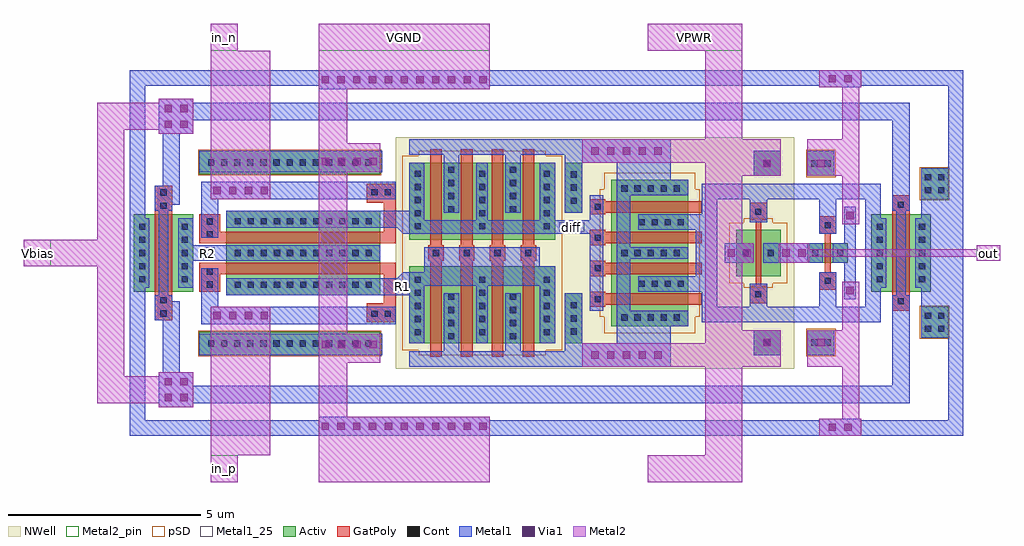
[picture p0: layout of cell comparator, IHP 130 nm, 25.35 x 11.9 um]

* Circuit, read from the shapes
.subckt comparator R1 R2 VGND VPWR Vbias diff in_n in_p out
XM1 R2 Vbias VGND VGND sg13_lv_nmos w=2u l=0.45u
XM2 R2 in_p R1 VGND sg13_lv_nmos w=4u l=0.3u
XM3 diff in_n R2 VGND sg13_lv_nmos w=4u l=0.3u
XM4 VGND n1 out VGND sg13_lv_nmos w=0.5u l=0.15u
XM5 VGND Vbias n1 VGND sg13_lv_nmos w=2u l=0.45u
XM6 VPWR R1 R1 VPWR sg13_lv_pmos w=2u l=0.3u m=4
XM7 VPWR R1 diff VPWR sg13_lv_pmos w=2u l=0.3u m=4
XM8 n1 diff VPWR VPWR sg13_lv_pmos w=2u l=0.3u m=4
XM9 out n1 VPWR VPWR sg13_lv_pmos w=1.2u l=0.15u
.ends

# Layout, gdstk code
import gdstk
lib = gdstk.Library(unit=1e-6, precision=1e-09)
def R(c, l, rs):  # rectangles x0, y0, x1, y1
    for r in rs: c.add(gdstk.rectangle(r[:2], r[2:], *l))
def A(c, l, x, y, w, h, nx, ny, dx, dy):  # array of equal rectangles
    R(c, l, [(x+i*dx, y+j*dy, x+i*dx+w, y+j*dy+h) for i in range(nx) for j in range(ny)])
def P(c, l, *ps):  # polygons
    for p in ps: c.add(gdstk.Polygon(p, *l))
Activ = (1, 0)
GatPoly = (5, 0)
Cont = (6, 0)
Metal1 = (8, 0)
Metal1_25 = (8, 25)
Metal2 = (10, 0)
Metal2_pin = (10, 2)
pSD = (14, 0)
Via1 = (19, 0)
NWell = (31, 0)

comparator = lib.new_cell('comparator')
R(comparator, Activ, [(4.55,3.3,9.25,3.9), (18.95,3.3,19.65,3.95), (20.35,3.3,21.05,3.95), (10,3.6,13.8,5.6), (14.05,3.6,14.5,4.9), (23.3,3.75,24,4.55), (15.25,4.05,17.25,7.85), (5.25,4.85,9.25,7.05), (2.85,4.95,4.4,6.95), (22,4.95,23.55,6.95), (18.5,5.35,19.65,6.55), (20.35,5.7,21.4,6.2), (10,6.3,13.8,8.3), (14.05,7,14.5,8.3), (23.3,7.35,24,8.15), (18.95,7.95,19.65,8.6), (20.35,7.95,21.05,8.6), (4.55,8,9.25,8.6)])
A(comparator, GatPoly, 10.55, 3.25, 0.3, 2.5, 4, 2, 0.8, 2.9)
A(comparator, GatPoly, 14.7, 4.6, 2.9, 0.3, 1, 4, 0, 0.8)
A(comparator, GatPoly, 10.5, 5.75, 0.4, 0.4, 4, 1, 0.8, 0)
R(comparator, GatPoly, [(8.9,4.15,9.65,4.65), (3.4,4.2,3.85,7.7), (22.55,4.45,23,7.45), (14.7,4.55,15.1,4.6), (9.35,4.65,9.65,5.4), (18.85,4.65,19.3,5.1), (14.7,4.9,15.1,4.95), (4.55,4.95,5.1,5.4), (20.65,5,21.1,5.45), (19,5.1,19.15,6.8), (14.7,5.35,15.1,5.4), (4.55,5.4,9.65,5.7), (20.8,5.45,20.95,6.45), (14.7,5.7,15.1,5.75), (14.7,6.15,15.1,6.2), (4.55,6.2,9.65,6.5), (20.65,6.45,21.1,6.9), (4.55,6.5,5.1,6.95), (9.35,6.5,9.65,7.25), (14.7,6.5,15.1,6.55), (18.85,6.8,19.3,7.25), (14.7,6.95,15.1,7), (8.9,7.25,9.65,7.75), (14.7,7.3,15.1,7.35)])
A(comparator, Cont, 4.78, 3.52, 0.16, 0.16, 13, 2, 0.34, 4.7)
A(comparator, Cont, 11.02, 3.71, 0.16, 0.16, 1, 4, 0, 0.34)
A(comparator, Cont, 12.62, 3.71, 0.16, 0.16, 1, 4, 0, 0.34)
A(comparator, Cont, 10.145, 3.815, 0.16, 0.16, 3, 5, 1.675, 0.34)
A(comparator, Cont, 14.195, 3.83, 0.16, 0.16, 1, 3, 0, 0.34)
A(comparator, Cont, 15.515, 4.195, 0.16, 0.16, 5, 3, 0.34, 1.675)
A(comparator, Cont, 14.82, 4.67, 0.16, 0.16, 1, 4, 0, 0.8)
A(comparator, Cont, 5.47, 5.045, 0.16, 0.16, 11, 3, 0.34, 0.825)
A(comparator, Cont, 15.96, 5.07, 0.16, 0.16, 4, 2, 0.34, 1.6)
A(comparator, Cont, 2.995, 5.19, 0.16, 0.16, 1, 5, 0, 0.34)
A(comparator, Cont, 4.095, 5.19, 0.16, 0.16, 1, 5, 0, 0.34)
A(comparator, Cont, 22.145, 5.19, 0.16, 0.16, 1, 5, 0, 0.34)
A(comparator, Cont, 23.245, 5.19, 0.16, 0.16, 1, 5, 0, 0.34)
A(comparator, Cont, 10.62, 5.87, 0.16, 0.16, 4, 1, 0.8, 0)
A(comparator, Cont, 10.145, 6.565, 0.16, 0.16, 3, 5, 1.675, 0.34)
A(comparator, Cont, 11.02, 7.01, 0.16, 0.16, 1, 4, 0, 0.34)
A(comparator, Cont, 12.62, 7.01, 0.16, 0.16, 1, 4, 0, 0.34)
A(comparator, Cont, 14.195, 7.23, 0.16, 0.16, 1, 3, 0, 0.34)
R(comparator, Cont, [(19.22,3.545,19.38,3.705), (20.45,3.545,20.61,3.705), (20.79,3.545,20.95,3.705), (23.4,3.9,23.56,4.06), (23.74,3.9,23.9,4.06), (23.4,4.24,23.56,4.4), (23.74,4.24,23.9,4.4), (9.025,4.295,9.185,4.455), (9.365,4.295,9.525,4.455), (3.545,4.3,3.705,4.46), (22.695,4.62,22.855,4.78), (3.545,4.64,3.705,4.8), (18.995,4.795,19.155,4.955), (4.745,5.05,4.905,5.21), (20.795,5.145,20.955,5.305), (4.745,5.39,4.905,5.55), (18.67,5.87,18.83,6.03), (19.32,5.87,19.48,6.03), (20.47,5.87,20.63,6.03), (21.12,5.87,21.28,6.03), (4.745,6.35,4.905,6.51), (20.795,6.595,20.955,6.755), (4.745,6.69,4.905,6.85), (18.995,6.945,19.155,7.105), (3.545,7.1,3.705,7.26), (22.695,7.12,22.855,7.28), (3.545,7.44,3.705,7.6), (9.025,7.445,9.185,7.605), (9.365,7.445,9.525,7.605), (23.4,7.5,23.56,7.66), (23.74,7.5,23.9,7.66), (23.4,7.84,23.56,8), (23.74,7.84,23.9,8), (19.22,8.195,19.38,8.355), (20.45,8.195,20.61,8.355), (20.79,8.195,20.95,8.355)])
R(comparator, Metal1, [(2.75,1.2,24.4,1.6), (2.75,1.6,3.15,5.05), (7.65,1.6,12.1,1.7), (20.65,1.6,21.75,1.65), (24,1.6,24.4,3.75), (3.5,1.95,4.4,2.05), (3.5,2.05,23,2.5), (3.5,2.5,4.4,2.85), (22.55,2.5,23,4.85), (3.6,2.85,4.05,4.2), (10,3,16.8,3.4), (4.55,3.3,9.3,3.85), (18.95,3.3,19.65,3.95), (20.35,3.3,21.05,3.95), (10.9,3.4,11.3,4.9), (12.5,3.4,12.9,4.9), (14.05,3.4,16.8,3.6), (10,3.6,10.4,4.85), (11.75,3.6,12.05,5.1), (13.4,3.6,13.8,5.1), (14.05,3.6,14.5,4.9), (15.4,3.6,16.8,4.05), (23.3,3.75,24.4,5.05), (15.4,4.05,17.25,4.45), (4.6,4.1,9.65,4.55), (17.6,4.15,22.25,4.55), (3.4,4.2,4.05,4.7), (14.7,4.45,15.05,6.45), (15.4,4.45,15.75,5.8), (4.6,4.55,5.05,5.55), (17.6,4.55,18,4.95), (18.85,4.55,19.3,5.15), (20.65,4.55,21.1,5.45), (21.85,4.55,22.25,5.05), (3.4,4.7,3.85,4.85), (21.3,4.75,21.6,5.7), (3.5,4.85,3.75,7.05), (5.25,4.85,10.4,5.1), (22.65,4.85,22.9,7.05), (15.95,4.95,18,5.35), (2.75,5.05,3.25,6.85), (4,5.05,4.4,5.75), (21.85,5.05,22.4,6.85), (23.15,5.05,24.4,6.85), (5.25,5.1,13.8,5.3), (9.85,5.3,13.8,5.45), (17.45,5.35,18,6.55), (10.4,5.45,13.8,5.6), (10.4,5.6,13.4,6.1), (18.2,5.7,18.95,6.2), (19.2,5.7,20.75,6.2), (21,5.7,21.6,6.2), (4,5.75,9.25,6.15), (15.4,5.8,17.25,6.1), (15.4,6.1,15.75,7.45), (4,6.15,4.4,6.85), (21.3,6.2,21.6,7.15), (4.6,6.35,5.05,7.35), (9.85,6.45,15.05,6.6), (20.65,6.45,21.1,7.35), (15.95,6.55,18,6.95), (5.25,6.6,15.05,6.8), (18.85,6.75,19.3,7.35), (5.25,6.8,10.4,7.05), (11.75,6.8,12.05,8.3), (13.4,6.8,13.8,8.3), (14.7,6.8,15.05,7.45), (2.75,6.85,3.15,10.3), (21.85,6.85,22.25,7.35), (23.3,6.85,24.4,8.15), (17.6,6.95,18,7.35), (10.9,7,11.3,8.5), (12.5,7,12.9,8.5), (14.05,7,14.5,8.3), (3.4,7.05,3.85,7.2), (10,7.05,10.4,8.3), (22.55,7.05,23,9.4), (3.4,7.2,4.05,7.7), (4.6,7.35,9.65,7.8), (17.6,7.35,22.25,7.75), (15.4,7.45,17.25,7.85), (3.6,7.7,4.05,9.05), (15.4,7.85,16.8,8.3), (18.95,7.95,19.65,8.6), (20.35,7.95,21.05,8.6), (4.55,8.05,9.3,8.6), (24,8.15,24.4,10.3), (14.05,8.3,16.8,8.5), (10,8.5,16.8,8.9), (3.5,9.05,4.4,9.4), (3.5,9.4,23,9.85), (3.5,9.85,4.4,9.95), (7.65,10.2,12.1,10.3), (20.65,10.25,21.75,10.3), (2.75,10.3,24.4,10.7)])
P(comparator, Metal1, [(9.7,5.3),(9.85,5.45),(9.85,5.3)],
  [(9.85,6.45),(9.7,6.6),(9.85,6.6)])
R(comparator, Metal1_25, [(9.7,4.95,9.95,5.2), (4.6,5.8,4.95,6.1), (13.9,6.5,14.55,6.75)])
R(comparator, Metal2, [(4.85,0,5.55,0.7), (7.65,0,12.1,1.7), (16.2,0,18.65,0.7), (4.85,0.7,6.4,4.55), (17.7,0.7,18.65,3), (20.65,1.2,21.75,1.65), (21.25,1.65,21.7,3), (7.65,1.7,8.4,3.1), (3.5,1.95,4.4,2.05), (1.9,2.05,4.4,2.75), (1.9,2.75,2.6,5.6), (3.5,2.75,4.4,2.85), (14.5,3,19.65,3.6), (20.35,3,21.7,3.95), (7.65,3.1,9.25,3.85), (17.7,3.6,19.65,3.95), (7.65,3.85,8.4,8.05), (17.7,3.95,18.65,5.7), (21.25,3.95,21.7,5.2), (0,5.6,2.6,6.3), (17.7,5.7,18.95,6.2), (19.6,5.7,20.4,5.85), (24.75,5.75,25.35,5.85), (19.6,5.85,25.35,6.05), (19.6,6.05,20.4,6.2), (24.75,6.05,25.35,6.15), (17.7,6.2,18.65,7.95), (1.9,6.3,2.6,9.15), (21.25,6.7,21.7,7.95), (4.85,7.35,6.4,11.2), (17.7,7.95,19.65,8.3), (20.35,7.95,21.7,8.9), (7.65,8.05,9.25,8.8), (14.5,8.3,19.65,8.9), (7.65,8.8,8.4,10.2), (17.7,8.9,18.65,11.2), (21.25,8.9,21.7,10.25), (3.5,9.05,4.4,9.15), (1.9,9.15,4.4,9.85), (3.5,9.85,4.4,9.95), (7.65,10.2,12.1,11.9), (20.65,10.25,21.75,10.7), (4.85,11.2,5.55,11.9), (16.2,11.2,18.65,11.9)])
R(comparator, Metal2_pin, [(4.85,0,5.55,0.7), (0,5.6,0.7,6.3), (24.75,5.75,25.35,6.15), (4.85,11.2,5.55,11.9), (7.65,11.2,12.1,11.9), (16.2,11.2,18.65,11.9)])
R(comparator, pSD, [(4.52,3.27,9.28,3.93), (20.32,3.27,21.08,3.98), (10.25,3.3,13.55,3.42), (9.82,3.42,13.98,8.48), (23.27,3.72,24.03,4.58), (15.07,3.87,17.43,4.3), (14.95,4.3,17.55,7.6), (18.7,5.05,19.45,5.17), (18.32,5.17,19.83,6.73), (18.7,6.73,19.45,6.85), (23.27,7.32,24.03,8.18), (15.07,7.6,17.43,8.03), (20.32,7.92,21.08,8.63), (4.52,7.97,9.28,8.63), (10.25,8.48,13.55,8.6)])
A(comparator, Via1, 7.73, 1.355, 0.19, 0.19, 11, 2, 0.41, 9)
A(comparator, Via1, 14.735, 3.205, 0.19, 0.19, 5, 2, 0.41, 5.3)
A(comparator, Via1, 7.74, 3.48, 0.19, 0.19, 4, 2, 0.41, 4.75)
A(comparator, Via1, 4.915, 4.23, 0.19, 0.19, 4, 2, 0.41, 3.25)
R(comparator, Via1, [(20.9,1.33,21.09,1.52), (21.31,1.33,21.5,1.52), (3.65,2.1,3.84,2.29), (4.06,2.1,4.25,2.29), (3.65,2.51,3.84,2.7), (4.06,2.51,4.25,2.7), (19.205,3.53,19.395,3.72), (20.605,3.53,20.795,3.72), (21.355,4.88,21.545,5.07), (18.275,5.855,18.465,6.045), (18.685,5.855,18.875,6.045), (19.7,5.855,19.89,6.045), (20.11,5.855,20.3,6.045), (21.355,6.83,21.545,7.02), (19.205,8.18,19.395,8.37), (20.605,8.18,20.795,8.37), (3.65,9.2,3.84,9.39), (4.06,9.2,4.25,9.39), (3.65,9.61,3.84,9.8), (4.06,9.61,4.25,9.8), (20.9,10.38,21.09,10.57), (21.31,10.38,21.5,10.57)])
R(comparator, NWell, [(9.65,2.95,20,8.95)])
comparator.add(gdstk.Label('diff', (14.225,6.625), layer=8, texttype=25))
comparator.add(gdstk.Label('R1', (9.825,5.075), layer=8, texttype=25))
comparator.add(gdstk.Label('R2', (4.775,5.95), layer=8, texttype=25))
comparator.add(gdstk.Label('out', (25.05,5.95), layer=10, texttype=25))
comparator.add(gdstk.Label('VPWR', (17.425,11.55), layer=10, texttype=25))
comparator.add(gdstk.Label('VGND', (9.875,11.55), layer=10, texttype=25))
comparator.add(gdstk.Label('in_n', (5.2,11.55), layer=10, texttype=25))
comparator.add(gdstk.Label('in_p', (5.2,0.35), layer=10, texttype=25))
comparator.add(gdstk.Label('Vbias', (0.35,5.95), layer=10, texttype=25))

lib.write_gds('comparator.gds')
